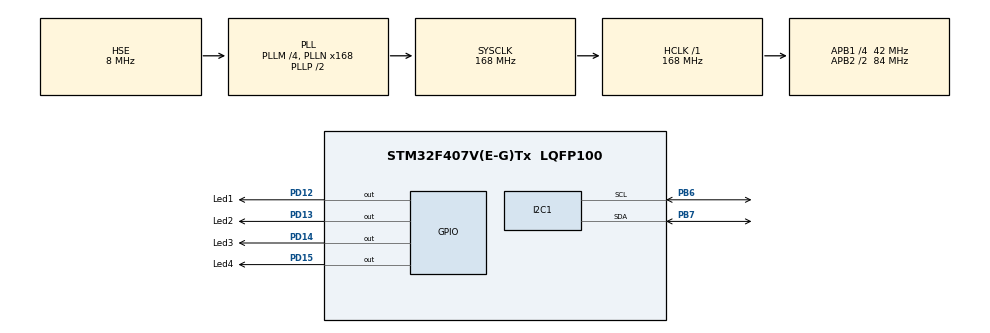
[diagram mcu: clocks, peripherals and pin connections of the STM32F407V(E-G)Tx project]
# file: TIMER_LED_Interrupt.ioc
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Mcu.Family=STM32F4
Mcu.Name=STM32F407V(E-G)Tx
Mcu.Package=LQFP100
NVIC.PriorityGroup=NVIC_PRIORITYGROUP_4
NVIC.TIM2_IRQn=true\:0\:0\:false\:false\:true\:true\:true
PB6.Mode=I2C
PB6.Signal=I2C1_SCL
PB7.Mode=I2C
PB7.Signal=I2C1_SDA
PD12.GPIO_Label=Led1
PD12.GPIO_Speed=GPIO_SPEED_FREQ_VERY_HIGH
PD12.Signal=GPIO_Output
PD13.GPIO_Label=Led2
PD13.GPIO_Speed=GPIO_SPEED_FREQ_VERY_HIGH
PD13.Signal=GPIO_Output
PD14.GPIO_Label=Led3
PD14.GPIO_Speed=GPIO_SPEED_FREQ_VERY_HIGH
PD14.Signal=GPIO_Output
PD15.GPIO_Label=Led4
PD15.GPIO_Speed=GPIO_SPEED_FREQ_VERY_HIGH
PD15.Signal=GPIO_Output
PH0-OSC_IN.Mode=HSE-External-Oscillator
PH0-OSC_IN.Signal=RCC_OSC_IN
PH1-OSC_OUT.Mode=HSE-External-Oscillator
PH1-OSC_OUT.Signal=RCC_OSC_OUT
ProjectManager.HeapSize=0x200
ProjectManager.StackSize=0x400
ProjectManager.TargetToolchain=MDK-ARM V5.27
RCC.48MHZClocksFreq_Value=84000000
RCC.AHBFreq_Value=168000000
RCC.APB1CLKDivider=RCC_HCLK_DIV4
RCC.APB1Freq_Value=42000000
RCC.APB1TimFreq_Value=84000000
RCC.APB2CLKDivider=RCC_HCLK_DIV2
RCC.APB2Freq_Value=84000000
RCC.APB2TimFreq_Value=168000000
RCC.CortexFreq_Value=168000000
RCC.HCLKFreq_Value=168000000
RCC.HSE_VALUE=8000000
RCC.HSI_VALUE=16000000
RCC.LSE_VALUE=32768
RCC.PLLM=4
RCC.PLLN=168
RCC.PLLSourceVirtual=RCC_PLLSOURCE_HSE
RCC.SYSCLKFreq_VALUE=168000000
RCC.SYSCLKSource=RCC_SYSCLKSOURCE_PLLCLK
RCC.VCOOutputFreq_Value=336000000
TIM2.Period=8400
TIM2.Prescaler=1000
VP_TIM2_VS_ClockSourceINT.Mode=Internal
board=custom

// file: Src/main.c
/* USER CODE BEGIN Header */
/**
  ******************************************************************************
  * @file           : main.c
  * @brief          : Main program body
  ******************************************************************************
  * @attention
  *
  * <h2><center>&copy; Copyright (c) 2020 STMicroelectronics.
  * All rights reserved.</center></h2>
  *
  * This software component is licensed by ST under BSD 3-Clause license,
  * the "License"; You may not use this file except in compliance with the
  * License. You may obtain a copy of the License at:
  *                        opensource.org/licenses/BSD-3-Clause
  *
  ******************************************************************************
  */
/* USER CODE END Header */

#include "main.h"

/* USER CODE BEGIN Includes */
#include "i2c-lcd.h"
/* USER CODE END Includes */

I2C_HandleTypeDef hi2c1;

TIM_HandleTypeDef htim2;

void SystemClock_Config(void);
static void MX_GPIO_Init(void);
static void MX_TIM2_Init(void);
static void MX_I2C1_Init(void);

/* USER CODE BEGIN 0 */
int count1=0;
int count2=0;
int count3=0;

int seconds=0;
int minutes=0;
int hours=0;

int min=0;
int max=0;

int sec[2];

void SetClock(int hrs, int mins, int secs)
{
	*sec = secs;
	minutes = mins;
	hours = hrs;
}
/* USER CODE END 0 */

int main(void)
{

  /* MCU Configuration--------------------------------------------------------*/

  /* Reset of all peripherals, Initializes the Flash interface and the Systick. */
  HAL_Init();

  /* Configure the system clock */
  SystemClock_Config();

  /* Initialize all configured peripherals */
  MX_GPIO_Init();
  MX_TIM2_Init();
  MX_I2C1_Init();
  /* USER CODE BEGIN 2 */
	HAL_TIM_Base_Start_IT(&htim2);

	lcd_init();
	lcd_clear();

	sec[0]=max;
	sec[1]=min;
//	sec[0]=0;
//	sec[1]=0;

	//SetClock(3,2,4);

  /* USER CODE END 2 */

  /* Infinite loop */
  while (1)
  {

    /* USER CODE BEGIN 3 */

		//**********************************Clock Stuff*************************//
		if(count1==10)					//count seconds
		{												//10tick (from interrupt) = 1second
			HAL_GPIO_TogglePin(GPIOD, Led2_Pin);
			count1=0;

			seconds++;
			min++;

			if(min == 10)
			{
				max++;
				min=0;
			}
//			if(max == 6)
//			{
//				max=0;
//			}

	//		min = seconds;
		}
		if(max == 2)				//count minutes
		{												//10seconds = 1min ( just for trying faster) ...for real min; ==600
			HAL_GPIO_TogglePin(GPIOD, Led3_Pin);
			count2=0;

			seconds=0;
			max=0;

			minutes++;
		}
		if(count3==500)				//count hours
		{											//5mins = 1hour ( just for trying faster) ...for real hour; ==36000
			HAL_GPIO_TogglePin(GPIOD, Led4_Pin);
			count3=0;

			minutes=0;
			hours++;
		}
		//**********************************LCD i2c Stuff*************************//
//		seconds = sec[1];
	//	sec[0]=0;

//		for(int i=0; i<10; i++)
//		{

//		}

		lcd_put_cur(0,0);
		lcd_send_string("Saat: Sa Dk Sn");
		lcd_put_cur(1,7);
		lcd_PrintInt(hours);
		lcd_put_cur(1,10);
		lcd_PrintInt(minutes);
		lcd_put_cur(1,12);
		lcd_PrintInt(max);
		lcd_put_cur(1,13);
		lcd_PrintInt(min);

		lcd_put_cur(1, 2);
		lcd_send_string((char *)sec);

  }
  /* USER CODE END 3 */
}

void SystemClock_Config(void)
{
  RCC_OscInitTypeDef RCC_OscInitStruct = {0};
  RCC_ClkInitTypeDef RCC_ClkInitStruct = {0};

  /** Configure the main internal regulator output voltage
  */
  __HAL_RCC_PWR_CLK_ENABLE();
  __HAL_PWR_VOLTAGESCALING_CONFIG(PWR_REGULATOR_VOLTAGE_SCALE1);
  /** Initializes the CPU, AHB and APB busses clocks
  */
  RCC_OscInitStruct.OscillatorType = RCC_OSCILLATORTYPE_HSE;
  RCC_OscInitStruct.HSEState = RCC_HSE_ON;
  RCC_OscInitStruct.PLL.PLLState = RCC_PLL_ON;
  RCC_OscInitStruct.PLL.PLLSource = RCC_PLLSOURCE_HSE;
  RCC_OscInitStruct.PLL.PLLM = 4;
  RCC_OscInitStruct.PLL.PLLN = 168;
  RCC_OscInitStruct.PLL.PLLP = RCC_PLLP_DIV2;
  RCC_OscInitStruct.PLL.PLLQ = 4;
  if (HAL_RCC_OscConfig(&RCC_OscInitStruct) != HAL_OK)
  {
    Error_Handler();
  }
  /** Initializes the CPU, AHB and APB busses clocks
  */
  RCC_ClkInitStruct.ClockType = RCC_CLOCKTYPE_HCLK|RCC_CLOCKTYPE_SYSCLK
                              |RCC_CLOCKTYPE_PCLK1|RCC_CLOCKTYPE_PCLK2;
  RCC_ClkInitStruct.SYSCLKSource = RCC_SYSCLKSOURCE_PLLCLK;
  RCC_ClkInitStruct.AHBCLKDivider = RCC_SYSCLK_DIV1;
  RCC_ClkInitStruct.APB1CLKDivider = RCC_HCLK_DIV4;
  RCC_ClkInitStruct.APB2CLKDivider = RCC_HCLK_DIV2;

  if (HAL_RCC_ClockConfig(&RCC_ClkInitStruct, FLASH_LATENCY_5) != HAL_OK)
  {
    Error_Handler();
  }
}

static void MX_I2C1_Init(void)
{

  hi2c1.Instance = I2C1;
  hi2c1.Init.ClockSpeed = 100000;
  hi2c1.Init.DutyCycle = I2C_DUTYCYCLE_2;
  hi2c1.Init.OwnAddress1 = 0;
  hi2c1.Init.AddressingMode = I2C_ADDRESSINGMODE_7BIT;
  hi2c1.Init.DualAddressMode = I2C_DUALADDRESS_DISABLE;
  hi2c1.Init.OwnAddress2 = 0;
  hi2c1.Init.GeneralCallMode = I2C_GENERALCALL_DISABLE;
  hi2c1.Init.NoStretchMode = I2C_NOSTRETCH_DISABLE;
  if (HAL_I2C_Init(&hi2c1) != HAL_OK)
  {
    Error_Handler();
  }

}

static void MX_TIM2_Init(void)
{

  TIM_ClockConfigTypeDef sClockSourceConfig = {0};
  TIM_MasterConfigTypeDef sMasterConfig = {0};

  htim2.Instance = TIM2;
  htim2.Init.Prescaler = 1000;
  htim2.Init.CounterMode = TIM_COUNTERMODE_UP;
  htim2.Init.Period = 8400;
  htim2.Init.ClockDivision = TIM_CLOCKDIVISION_DIV1;
  htim2.Init.AutoReloadPreload = TIM_AUTORELOAD_PRELOAD_DISABLE;
  if (HAL_TIM_Base_Init(&htim2) != HAL_OK)
  {
    Error_Handler();
  }
  sClockSourceConfig.ClockSource = TIM_CLOCKSOURCE_INTERNAL;
  if (HAL_TIM_ConfigClockSource(&htim2, &sClockSourceConfig) != HAL_OK)
  {
    Error_Handler();
  }
  sMasterConfig.MasterOutputTrigger = TIM_TRGO_RESET;
  sMasterConfig.MasterSlaveMode = TIM_MASTERSLAVEMODE_DISABLE;
  if (HAL_TIMEx_MasterConfigSynchronization(&htim2, &sMasterConfig) != HAL_OK)
  {
    Error_Handler();
  }

}

static void MX_GPIO_Init(void)
{
  GPIO_InitTypeDef GPIO_InitStruct = {0};

  /* GPIO Ports Clock Enable */
  __HAL_RCC_GPIOH_CLK_ENABLE();
  __HAL_RCC_GPIOD_CLK_ENABLE();
  __HAL_RCC_GPIOB_CLK_ENABLE();

  /*Configure GPIO pin Output Level */
  HAL_GPIO_WritePin(GPIOD, Led1_Pin|Led2_Pin|Led3_Pin|Led4_Pin, GPIO_PIN_RESET);

  /*Configure GPIO pins : Led1_Pin Led2_Pin Led3_Pin Led4_Pin */
  GPIO_InitStruct.Pin = Led1_Pin|Led2_Pin|Led3_Pin|Led4_Pin;
  GPIO_InitStruct.Mode = GPIO_MODE_OUTPUT_PP;
  GPIO_InitStruct.Pull = GPIO_NOPULL;
  GPIO_InitStruct.Speed = GPIO_SPEED_FREQ_VERY_HIGH;
  HAL_GPIO_Init(GPIOD, &GPIO_InitStruct);

}

/* USER CODE BEGIN 4 */
void HAL_TIM_PeriodElapsedCallback(TIM_HandleTypeDef *htim)
{
  /* Prevent unused argument(s) compilation warning */
  UNUSED(htim);

  /* NOTE : This function should not be modified, when the callback is needed,
            the HAL_TIM_PeriodElapsedCallback could be implemented in the user file
   */
	HAL_GPIO_TogglePin(GPIOD, Led1_Pin);

	count1++;
	count2++;
	count3++;

//	if(htim->Instance == TIM2)
//  {
//			HAL_GPIO_TogglePin(GPIOD, Led2_Pin);
//	}
}

/* USER CODE END 4 */

void Error_Handler(void)
{
}

/************************ (C) COPYRIGHT STMicroelectronics *****END OF FILE****/
